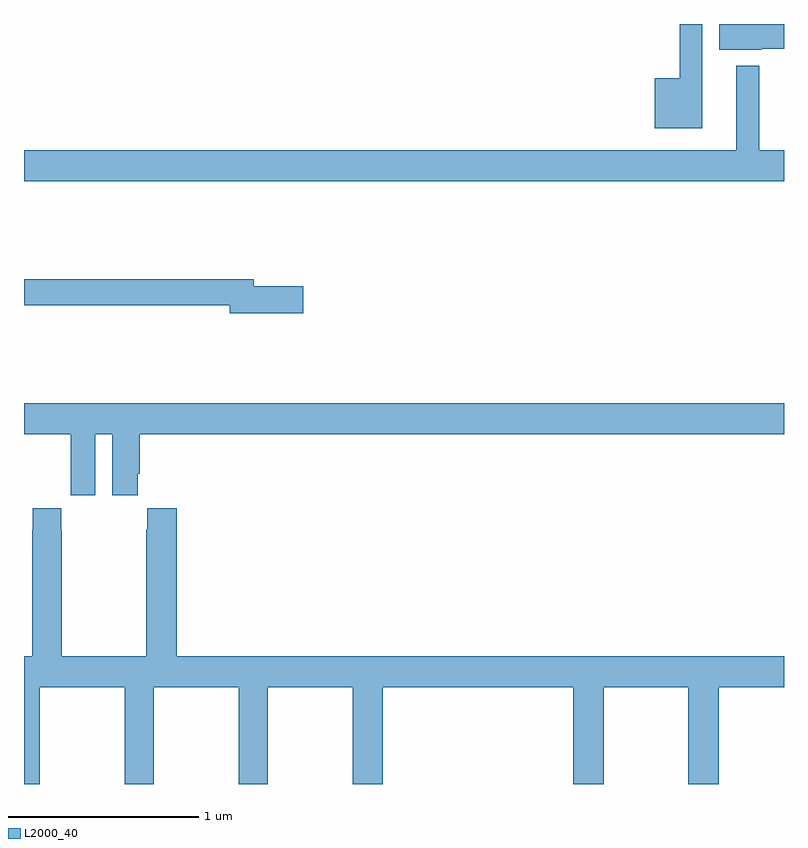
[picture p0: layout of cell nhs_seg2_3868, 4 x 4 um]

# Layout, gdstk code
import gdstk
lib = gdstk.Library(unit=1e-6, precision=1e-09)
def P(c, l, *ps):  # polygons
    for p in ps: c.add(gdstk.Polygon(p, *l))
L2000_40 = (2000, 40)

nhs_seg2_3868 = lib.new_cell('nhs_seg2_3868')
P(nhs_seg2_3868, L2000_40, [(318.882,645.671),(319,645.671),(319,645.8),(318.659,645.8),(318.659,645.665),(318.882,645.665)],
  [(318.571,645.8),(318.45,645.8),(318.45,645.514),(318.32,645.514),(318.32,645.251),(318.571,645.251)],
  [(319,645.136),(318.871,645.136),(318.871,645.58),(318.749,645.58),(318.749,645.136),(315,645.136),(315,644.972),(319,644.972)],
  [(316.471,644.42),(316.21,644.42),(316.21,644.456),(315,644.456),(315,644.32),(316.082,644.32),(316.082,644.278),(316.471,644.278)],
  [(315.376,643.64),(315.464,643.64),(315.464,643.32),(315.598,643.32),(315.598,643.432),(315.608,643.432),(315.608,643.64),(319,643.64),(319,643.804),(315,643.804),(315,643.64),(315.245,643.64),(315.245,643.432),(315.246,643.432),(315.246,643.32),(315.376,643.32)],
  [(315.045,643.139),(315.043,643.139),(315.043,642.472),(315,642.472),(315,641.8),(315.084,641.8),(315.084,642.308),(315.529,642.308),(315.529,641.8),(315.684,641.8),(315.684,642.308),(316.129,642.308),(316.129,641.8),(316.284,641.8),(316.284,642.308),(316.729,642.308),(316.729,641.8),(316.889,641.8),(316.889,642.308),(317.891,642.308),(317.891,641.8),(318.051,641.8),(318.051,642.308),(318.496,642.308),(318.496,641.8),(318.656,641.8),(318.656,642.308),(319,642.308),(319,642.472),(315.803,642.472),(315.803,643.252),(315.649,643.252),(315.649,643.139),(315.643,643.139),(315.643,642.472),(315.198,642.472),(315.198,643.139),(315.195,643.139),(315.195,643.252),(315.045,643.252)])

lib.write_gds('nhs_seg2_3868.gds')
